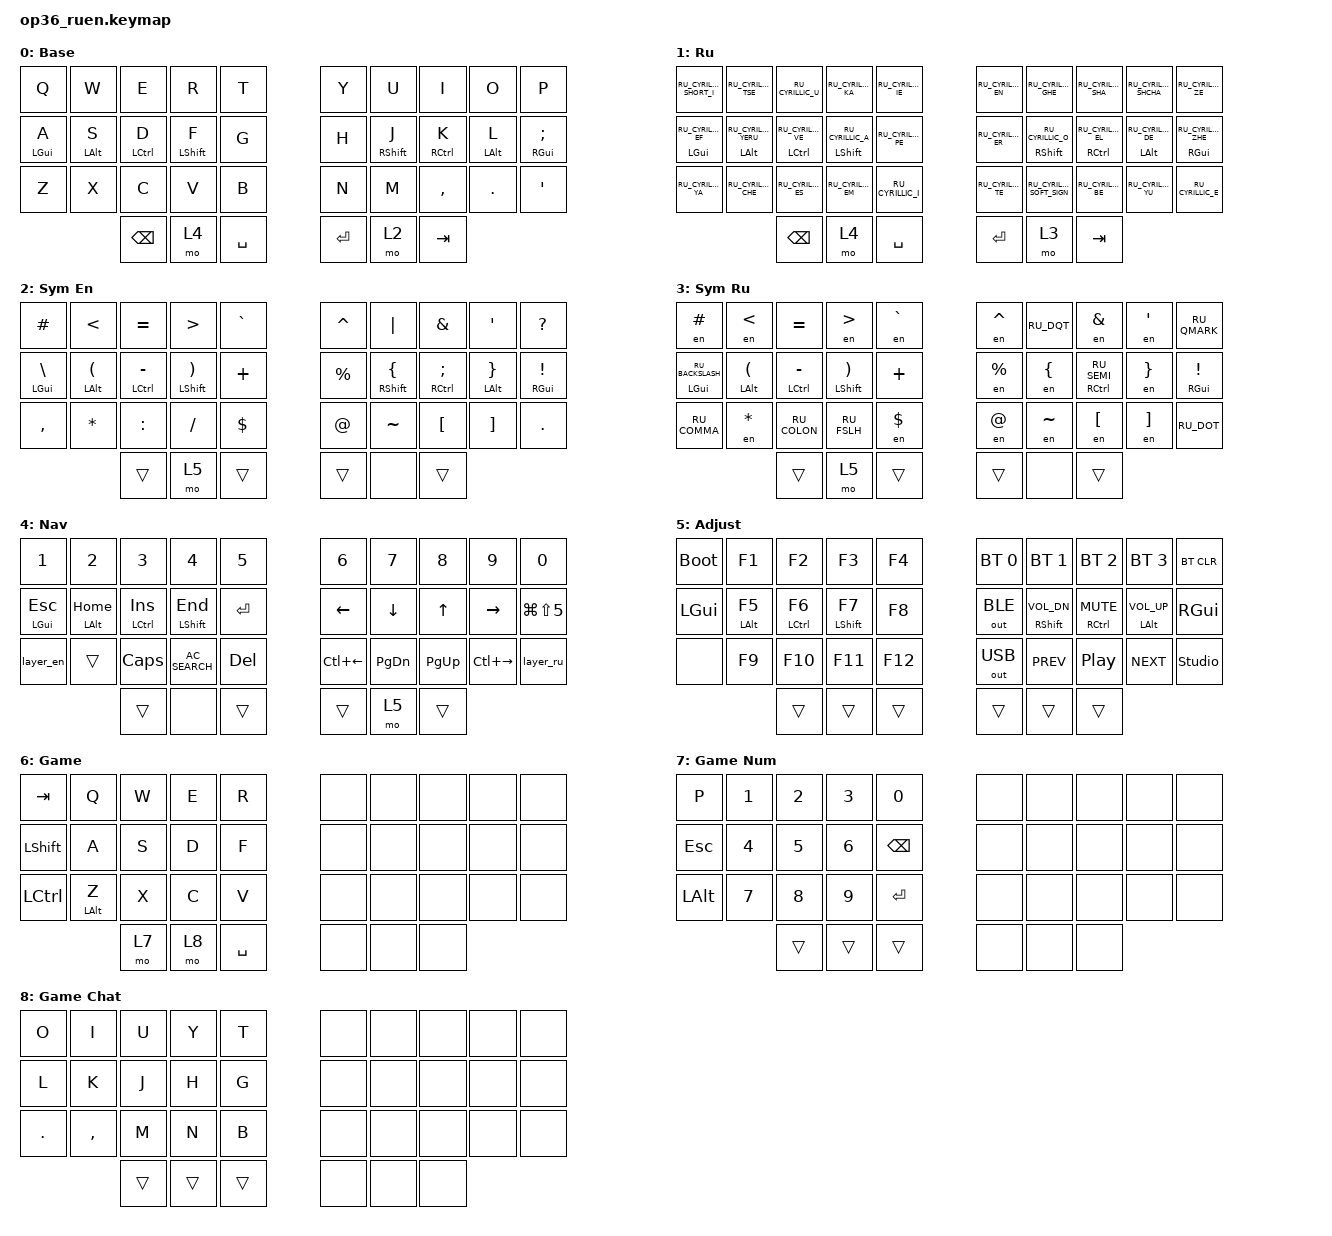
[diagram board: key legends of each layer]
#include "keys_ru.h"
#include <behaviors.dtsi>
#include <dt-bindings/zmk/bt.h>
#include <dt-bindings/zmk/keys.h>
#include <dt-bindings/zmk/outputs.h>

&mt {
    quick-tap-ms = <200>;
    flavor = "tap-preferred";
    require-prior-idle-ms = <125>;
};

/ {
    behaviors {
        hml: home_row_mod_left {
            compatible = "zmk,behavior-hold-tap";
            #binding-cells = <2>;
            flavor = "balanced";
            require-prior-idle-ms = <150>;
            tapping-term-ms = <280>;
            quick-tap-ms = <175>;
            bindings = <&kp>, <&kp>;

            hold-trigger-key-positions = <5 6 7 8 9 15 16 17 18 19 25 26 27 28 29 33 34 35>;
            hold-trigger-on-release;
        };

        hmr: home_row_mod_right {
            compatible = "zmk,behavior-hold-tap";
            #binding-cells = <2>;
            flavor = "balanced";
            require-prior-idle-ms = <150>;
            tapping-term-ms = <280>;
            quick-tap-ms = <175>;
            bindings = <&kp>, <&kp>;

            hold-trigger-key-positions = <0 1 2 3 4 10 11 12 13 14 20 21 22 23 24 30 31 32>;
            hold-trigger-on-release;
        };
    };

    combos {
        compatible = "zmk,combos";

        kha {
            bindings = <&kp RU_CYRILLIC_HA>;
            key-positions = <6 7>;
            layers = <1>;
        };

        hrdsgn {
            bindings = <&kp RU_CYRILLIC_HARD_SIGN>;
            key-positions = <7 8>;
            layers = <1>;
        };

        io {
            bindings = <&kp RU_CYRILLIC_IO>;
            key-positions = <8 9>;
            layers = <1>;
        };

        cmben {
            bindings = <&layer_en>;
            key-positions = <2 3>;
            layers = <1>;
        };

        cmbru {
            bindings = <&layer_ru>;
            key-positions = <2 3>;
            layers = <0>;
        };

        to_games {
            bindings = <&tog 6>;
            key-positions = <22 23>;
            layers = <0 1 6>;
        };
    };

    macros {
        to_ru: to_ru {
            compatible = "zmk,behavior-macro";
            #binding-cells = <0>;
            bindings = <&kp LS(LC(N2))>;
            label = "TO_RU";
            wait-ms = <0>;
            tap-ms = <30>;
        };

        to_en: to_en {
            compatible = "zmk,behavior-macro";
            #binding-cells = <0>;
            bindings = <&kp LS(LC(N1))>;
            label = "TO_EN";
            wait-ms = <0>;
            tap-ms = <30>;
        };

        layer_en: layer_en {
            compatible = "zmk,behavior-macro";
            #binding-cells = <0>;
            bindings = <&to 0 &to_en>;
            label = "LAYER_EN";
            wait-ms = <0>;
            tap-ms = <30>;
        };

        layer_ru: layer_ru {
            compatible = "zmk,behavior-macro";
            #binding-cells = <0>;
            bindings = <&to 1 &to_ru>;
            label = "LAYER_RU";
            tap-ms = <30>;
            wait-ms = <0>;
        };

        en: en {
            compatible = "zmk,behavior-macro-one-param";
            #binding-cells = <1>;
            bindings =
                <&to_en>,
                <&macro_press>,
                <&macro_param_1to1 &kp MACRO_PLACEHOLDER>,
                <&macro_pause_for_release>,
                <&macro_release>,
                <&macro_param_1to1 &kp MACRO_PLACEHOLDER>,
                <&macro_tap>,
                <&to_ru>;

            label = "EN";
            wait-ms = <0>;
            tap-ms = <30>;
        };
    };

    keymap {
        compatible = "zmk,keymap";

        en {
            bindings = <
  &kp Q        &kp W        &kp E         &kp R          &kp T                          &kp Y  &kp U         &kp I         &kp O        &kp P
  &hml LGUI A  &hml LALT S  &hml LCTRL D  &hml LSHFT F   &kp G                          &kp H  &hmr RSHFT J  &hmr RCTRL K  &hmr LALT L  &hmr RGUI SEMICOLON
  &kp Z        &kp X        &kp C         &kp V          &kp B                          &kp N  &kp M         &kp COMMA     &kp DOT      &kp SQT
                                          &kp BACKSPACE  &mo 4  &kp SPACE    &kp ENTER  &mo 2  &kp TAB
            >;

            display-name = "Base";
        };

        ru {
            bindings = <
  &kp RU_CYRILLIC_SHORT_I   &kp RU_CYRILLIC_TSE         &kp RU_CYRILLIC_U          &kp RU_CYRILLIC_KA        &kp RU_CYRILLIC_IE                          &kp RU_CYRILLIC_EN  &kp RU_CYRILLIC_GHE        &kp RU_CYRILLIC_SHA        &kp RU_CYRILLIC_SHCHA     &kp RU_CYRILLIC_ZE
  &hml LGUI RU_CYRILLIC_EF  &hml LALT RU_CYRILLIC_YERU  &hml LCTRL RU_CYRILLIC_VE  &hml LSHFT RU_CYRILLIC_A  &kp RU_CYRILLIC_PE                          &kp RU_CYRILLIC_ER  &hmr RSHFT RU_CYRILLIC_O   &hmr RCTRL RU_CYRILLIC_EL  &hmr LALT RU_CYRILLIC_DE  &hmr RGUI RU_CYRILLIC_ZHE
  &kp RU_CYRILLIC_YA        &kp RU_CYRILLIC_CHE         &kp RU_CYRILLIC_ES         &kp RU_CYRILLIC_EM        &kp RU_CYRILLIC_I                           &kp RU_CYRILLIC_TE  &kp RU_CYRILLIC_SOFT_SIGN  &kp RU_CYRILLIC_BE         &kp RU_CYRILLIC_YU        &kp RU_CYRILLIC_E
                                                                                   &kp BACKSPACE             &mo 4               &kp SPACE    &kp ENTER  &mo 3               &kp TAB
            >;

            display-name = "Ru";
        };

        sym_en {
            bindings = <
  &kp HASH        &kp LT          &kp EQUAL         &kp GT           &kp GRAVE                     &kp CARET  &kp PIPE         &kp AMPERSAND     &kp SQT            &kp QMARK
  &hml LGUI BSLH  &hml LALT LPAR  &hml LCTRL MINUS  &hml LSHFT RPAR  &kp PLUS                      &kp PRCNT  &hmr RSHFT LBRC  &hmr RCTRL SEMI   &hmr LALT RBRC     &hmr RGUI EXCL
  &kp COMMA       &kp STAR        &kp COLON         &kp FSLH         &kp DOLLAR                    &kp AT     &kp TILDE        &kp LEFT_BRACKET  &kp RIGHT_BRACKET  &kp DOT
                                                    &trans           &mo 5       &trans    &trans  &none      &trans
            >;

            display-name = "Sym En";
        };

        sym_ru {
            bindings = <
  &en HASH                &en LT          &kp EQUAL         &en GT           &en GRAVE                    &en CARET  &kp RU_DQT  &en AMPERSAND       &en SQT            &kp RU_QMARK
  &hml LGUI RU_BACKSLASH  &hml LALT LPAR  &hml LCTRL MINUS  &hml LSHFT RPAR  &kp PLUS                     &en PRCNT  &en LBRC    &hmr RCTRL RU_SEMI  &en RBRC           &hmr RGUI EXCL
  &kp RU_COMMA            &en STAR        &kp RU_COLON      &kp RU_FSLH      &en DLLR                     &en AT     &en TILDE   &en LEFT_BRACKET    &en RIGHT_BRACKET  &kp RU_DOT
                                                            &trans           &mo 5      &trans    &trans  &none      &trans
            >;

            display-name = "Sym Ru";
        };

        nav {
            bindings = <
  &kp N1         &kp N2          &kp N3          &kp N4           &kp N5                        &kp N6              &kp N7         &kp N8       &kp N9               &kp N0
  &hml LGUI ESC  &hml LALT HOME  &hml LCTRL INS  &hml LSHFT END   &kp ENTER                     &kp LEFT            &kp DOWN       &kp UP       &kp RIGHT            &kp LG(LS(NUMBER_5))
  &layer_en      &trans          &kp CAPSLOCK    &kp C_AC_SEARCH  &kp DELETE                    &kp LC(LEFT_ARROW)  &kp PAGE_DOWN  &kp PAGE_UP  &kp LC(RIGHT_ARROW)  &layer_ru
                                                 &trans           &none       &trans    &trans  &mo 5               &trans
            >;

            display-name = "Nav";
        };

        adj {
            bindings = <
  &bootloader  &kp F1        &kp F2         &kp F3         &kp F4                     &bt BT_SEL 0  &bt BT_SEL 1         &bt BT_SEL 2       &bt BT_SEL 3        &bt BT_CLR
  &kp LGUI     &hml LALT F5  &hml LCTRL F6  &hml LSHFT F7  &kp F8                     &out OUT_BLE  &hmr RSHFT C_VOL_DN  &hmr RCTRL C_MUTE  &hmr LALT C_VOL_UP  &kp RGUI
  &none        &kp F9        &kp F10        &kp F11        &kp F12                    &out OUT_USB  &kp C_PREV           &kp C_PP           &kp C_NEXT          &studio_unlock
                                            &trans         &trans   &trans    &trans  &trans        &trans
            >;

            display-name = "Adjust";
        };

        games {
            bindings = <
  &kp TAB    &kp Q       &kp W  &kp E  &kp R                      &none  &none  &none  &none  &none
  &kp LSHFT  &kp A       &kp S  &kp D  &kp F                      &none  &none  &none  &none  &none
  &kp LCTRL  &mt LALT Z  &kp X  &kp C  &kp V                      &none  &none  &none  &none  &none
                                &mo 7  &mo 8  &kp SPACE    &none  &none  &none
            >;

            display-name = "Game";
        };

        games_n {
            bindings = <
  &kp P     &kp N1  &kp N2  &kp N3  &kp N0                      &none  &none  &none  &none  &none
  &kp ESC   &kp N4  &kp N5  &kp N6  &kp BSPC                    &none  &none  &none  &none  &none
  &kp LALT  &kp N7  &kp N8  &kp N9  &kp ENTER                   &none  &none  &none  &none  &none
                            &trans  &trans     &trans    &none  &none  &none
            >;

            display-name = "Game Num";
        };

        games_add {
            bindings = <
  &kp O    &kp I      &kp U  &kp Y   &kp T                    &none  &none  &none  &none  &none
  &kp L    &kp K      &kp J  &kp H   &kp G                    &none  &none  &none  &none  &none
  &kp DOT  &kp COMMA  &kp M  &kp N   &kp B                    &none  &none  &none  &none  &none
                             &trans  &trans  &trans    &none  &none  &none
            >;

            display-name = "Game Chat";
        };
    };
};
